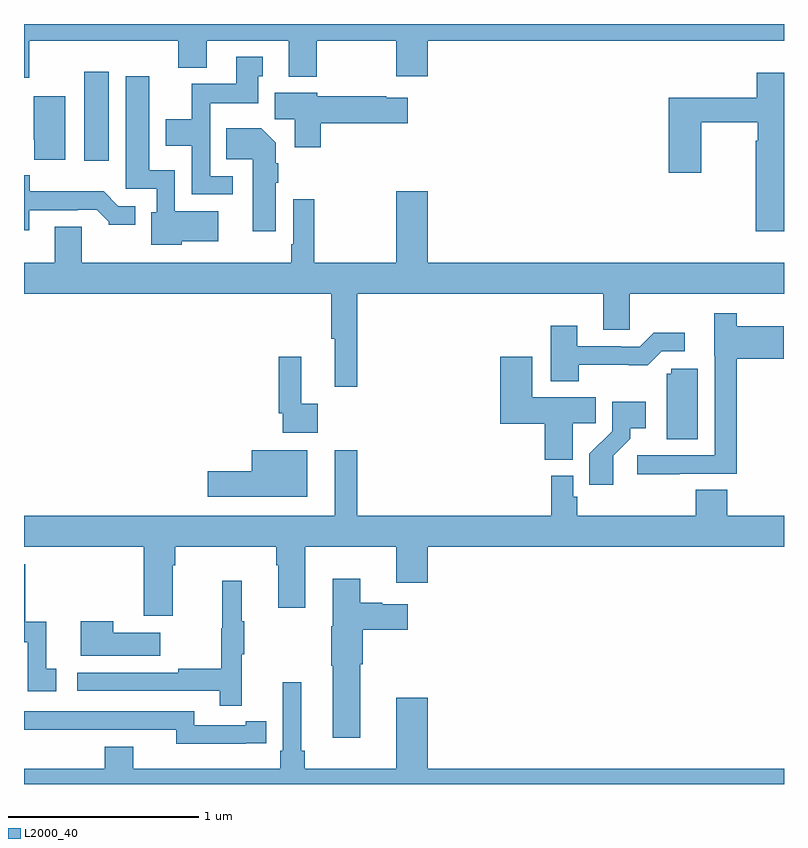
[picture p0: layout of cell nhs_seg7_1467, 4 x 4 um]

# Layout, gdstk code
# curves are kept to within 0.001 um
import gdstk
lib = gdstk.Library(unit=1e-6, precision=1e-09)
def R(c, l, rs):  # rectangles x0, y0, x1, y1
    for r in rs: c.add(gdstk.rectangle(r[:2], r[2:], *l))
def P(c, l, *ps):  # polygons
    for p in ps: c.add(gdstk.Polygon(p, *l))
L2000_40 = (2000, 40)

nhs_seg7_1467 = lib.new_cell('nhs_seg7_1467')
R(nhs_seg7_1467, L2000_40, [(211.316,1037.28,211.447,1037.749)])
P(nhs_seg7_1467, L2000_40, [(211.027,1037.912),(211.811,1037.912),(211.811,1037.771),(211.963,1037.771),(211.963,1037.912),(212.393,1037.912),(212.393,1037.723),(212.541,1037.723),(212.541,1037.912),(212.96,1037.912),(212.96,1037.724),(213.124,1037.724),(213.124,1037.912),(215,1037.912),(215,1038),(211,1038),(211,1037.718),(211.027,1037.718)],
  [(212.098,1037.199),(211.98,1037.199),(211.98,1037.582),(212.233,1037.582),(212.233,1037.724),(212.257,1037.724),(212.257,1037.827),(212.117,1037.827),(212.117,1037.686),(211.882,1037.686),(211.882,1037.5),(211.745,1037.5),(211.745,1037.36),(211.884,1037.36),(211.884,1037.103),(212.098,1037.103)],
  [(215,1037.743),(214.856,1037.743),(214.856,1037.611),(214.394,1037.611),(214.394,1037.217),(214.564,1037.217),(214.564,1037.482),(214.861,1037.482),(214.861,1037.385),(214.85,1037.385),(214.85,1036.908),(215,1036.908)],
  [(211.83,1036.856),(212.023,1036.856),(212.023,1037.014),(211.794,1037.014),(211.794,1037.23),(211.66,1037.23),(211.66,1037.725),(211.535,1037.725),(211.535,1037.133),(211.698,1037.133),(211.698,1037.01),(211.67,1037.01),(211.67,1036.838),(211.83,1036.838)],
  [(212.561,1037.477),(213.019,1037.477),(213.019,1037.611),(212.906,1037.611),(212.906,1037.619),(212.544,1037.619),(212.544,1037.638),(212.321,1037.638),(212.321,1037.5),(212.426,1037.5),(212.426,1037.352),(212.561,1037.352)],
  [(211.216,1037.62),(211.052,1037.62),(211.052,1037.392),(211.054,1037.392),(211.054,1037.285),(211.216,1037.285)],
  [(212.326,1037.164),(212.339,1037.164),(212.339,1037.267),(212.326,1037.267),(212.326,1037.374),(212.248,1037.452),(212.065,1037.452),(212.065,1037.288),(212.204,1037.288),(212.204,1036.908),(212.326,1036.908)],
  [(211.027,1037.019),(211.283,1037.019),(211.283,1037.022),(211.382,1037.022),(211.446,1036.958),(211.446,1036.943),(211.585,1036.943),(211.585,1037.04),(211.497,1037.04),(211.419,1037.119),(211.03,1037.119),(211.03,1037.203),(211,1037.203),(211,1036.914),(211.027,1036.914)],
  [(212.753,1036.58),(214.049,1036.58),(214.049,1036.39),(214.188,1036.39),(214.188,1036.58),(215,1036.58),(215,1036.744),(213.124,1036.744),(213.124,1037.119),(212.96,1037.119),(212.96,1036.744),(212.527,1036.744),(212.527,1037.077),(212.418,1037.077),(212.418,1036.84),(212.406,1036.84),(212.406,1036.744),(211.303,1036.744),(211.303,1036.934),(211.163,1036.934),(211.163,1036.744),(211,1036.744),(211,1036.58),(212.617,1036.58),(212.617,1036.344),(212.636,1036.344),(212.636,1036.092),(212.753,1036.092)],
  [(214.451,1035.633),(214.751,1035.633),(214.751,1036.238),(214.999,1036.238),(214.999,1036.408),(214.751,1036.408),(214.751,1036.477),(214.634,1036.477),(214.634,1036.254),(214.635,1036.254),(214.635,1035.729),(214.227,1035.729),(214.227,1035.631),(214.451,1035.631)],
  [(213.921,1036.206),(214.283,1036.205),(214.356,1036.278),(214.477,1036.278),(214.477,1036.375),(214.315,1036.375),(214.242,1036.302),(214.142,1036.302),(214.142,1036.305),(213.913,1036.305),(213.913,1036.411),(213.773,1036.411),(213.773,1036.121),(213.921,1036.121)],
  [(212.545,1036.001),(212.459,1036.001),(212.459,1036.249),(212.341,1036.249),(212.341,1035.952),(212.361,1035.952),(212.361,1035.848),(212.545,1035.848)],
  [(213.889,1035.898),(214.01,1035.898),(214.01,1036.036),(213.676,1036.036),(213.676,1036.249),(213.506,1036.249),(213.506,1035.896),(213.74,1035.896),(213.74,1035.707),(213.889,1035.707)],
  [(214.546,1036.185),(214.407,1036.185),(214.407,1036.158),(214.382,1036.158),(214.382,1035.814),(214.546,1035.814)],
  [(214.102,1035.727),(214.192,1035.817),(214.192,1035.872),(214.273,1035.872),(214.273,1036.012),(214.095,1036.012),(214.095,1035.857),(213.976,1035.738),(213.976,1035.576),(214.102,1035.576)],
  [(212.491,1035.757),(212.198,1035.757),(212.198,1035.647),(211.968,1035.647),(211.968,1035.512),(212.491,1035.512)],
  [(211.783,1035.152),(211.796,1035.152),(211.796,1035.248),(212.327,1035.248),(212.327,1035.152),(212.339,1035.152),(212.339,1034.928),(212.479,1034.928),(212.479,1035.248),(212.96,1035.248),(212.96,1035.06),(213.124,1035.06),(213.124,1035.248),(215,1035.248),(215,1035.412),(214.7,1035.412),(214.7,1035.548),(214.535,1035.548),(214.535,1035.412),(213.911,1035.412),(213.911,1035.513),(213.891,1035.513),(213.891,1035.622),(213.775,1035.622),(213.775,1035.412),(212.753,1035.412),(212.753,1035.757),(212.636,1035.757),(212.636,1035.412),(211,1035.412),(211,1035.248),(211.631,1035.248),(211.631,1034.886),(211.783,1034.886)],
  [(211.171,1034.607),(211.118,1034.607),(211.118,1034.853),(211.007,1034.853),(211.007,1035.156),(211,1035.156),(211,1034.745),(211.02,1034.745),(211.02,1034.487),(211.171,1034.487)],
  [(212.77,1034.629),(212.783,1034.629),(212.783,1034.813),(213.019,1034.813),(213.019,1034.947),(212.886,1034.947),(212.886,1034.955),(212.77,1034.955),(212.77,1035.079),(212.624,1035.079),(212.624,1034.829),(212.617,1034.829),(212.617,1034.623),(212.624,1034.623),(212.624,1034.244),(212.77,1034.244)],
  [(212.147,1034.683),(212.158,1034.683),(212.158,1034.857),(212.147,1034.857),(212.147,1035.07),(212.044,1035.07),(212.044,1034.82),(212.037,1034.82),(212.037,1034.606),(211.813,1034.606),(211.813,1034.586),(211.281,1034.586),(211.281,1034.49),(212.029,1034.49),(212.029,1034.412),(212.147,1034.412)],
  [(211.717,1034.797),(211.469,1034.797),(211.469,1034.857),(211.298,1034.857),(211.298,1034.675),(211.717,1034.675)],
  [(215,1034.08),(213.124,1034.08),(213.124,1034.455),(212.96,1034.455),(212.96,1034.08),(212.477,1034.08),(212.477,1034.176),(212.458,1034.176),(212.458,1034.536),(212.361,1034.536),(212.361,1034.176),(212.348,1034.176),(212.348,1034.08),(211.576,1034.08),(211.576,1034.197),(211.424,1034.197),(211.424,1034.08),(211,1034.08),(211,1034),(215,1034)],
  [(212.168,1034.214),(212.276,1034.214),(212.276,1034.33),(212.168,1034.33),(212.168,1034.31),(211.896,1034.31),(211.896,1034.382),(211.002,1034.382),(211,1034.384),(211,1034.285),(211.8,1034.286),(211.8,1034.213)])

lib.write_gds('nhs_seg7_1467.gds')
